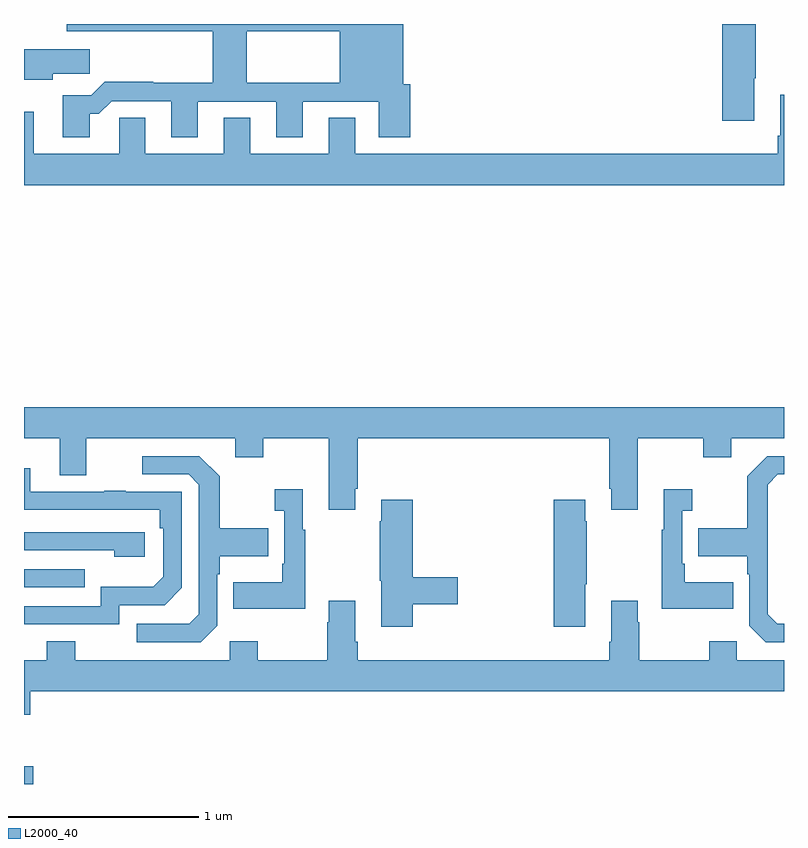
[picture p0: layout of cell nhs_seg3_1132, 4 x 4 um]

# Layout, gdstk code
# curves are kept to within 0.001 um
import gdstk
lib = gdstk.Library(unit=1e-6, precision=1e-09)
def R(c, l, rs):  # rectangles x0, y0, x1, y1
    for r in rs: c.add(gdstk.rectangle(r[:2], r[2:], *l))
def P(c, l, *ps):  # polygons
    for p in ps: c.add(gdstk.Polygon(p, *l))
L2000_40 = (2000, 40)

nhs_seg3_1132 = lib.new_cell('nhs_seg3_1132')
R(nhs_seg3_1132, L2000_40, [(169,728.4,169.049,728.494), (169,729.435,169.319,729.531)])
P(nhs_seg3_1132, L2000_40, [(169.679,732.095),(169.424,732.095),(169.354,732.025),(169.205,732.025),(169.205,731.805),(169.345,731.805),(169.345,731.927),(169.394,731.927),(169.461,731.994),(169.775,731.994),(169.775,731.805),(169.915,731.805),(169.915,731.991),(170.327,731.991),(170.327,731.805),(170.467,731.805),(170.467,731.991),(170.867,731.991),(170.867,731.805),(171.032,731.805),(171.032,732.084),(170.995,732.084),(170.995,732.4),(169.226,732.4),(169.226,732.362),(169.994,732.362),(169.994,732.092),(170.172,732.092),(170.172,732.362),(170.663,732.362),(170.663,732.092),(169.679,732.092)],
  [(172.843,732.115),(172.851,732.115),(172.851,732.4),(172.676,732.4),(172.676,731.892),(172.843,731.892)],
  [(169.15,732.139),(169.345,732.139),(169.345,732.268),(169,732.268),(169,732.107),(169.15,732.107)],
  [(173,732.028),(172.979,732.028),(172.979,731.812),(172.967,731.812),(172.967,731.716),(170.743,731.716),(170.743,731.906),(170.603,731.906),(170.603,731.716),(170.191,731.716),(170.191,731.906),(170.051,731.906),(170.051,731.716),(169.639,731.716),(169.639,731.906),(169.5,731.906),(169.5,731.716),(169.051,731.716),(169.051,731.938),(169,731.938),(169,731.552),(173,731.552)],
  [(169,730.22),(169.187,730.22),(169.187,730.026),(169.327,730.026),(169.327,730.22),(170.111,730.22),(170.111,730.121),(170.259,730.121),(170.259,730.22),(170.603,730.22),(170.603,729.843),(170.743,729.843),(170.743,729.955),(170.756,729.955),(170.756,730.22),(172.079,730.22),(172.079,729.955),(172.091,729.955),(172.091,729.843),(172.231,729.843),(172.231,730.22),(172.576,730.22),(172.576,730.121),(172.723,730.121),(172.723,730.22),(173,730.22),(173,730.384),(169,730.384)],
  [(170.016,729.234),(170.016,729.503),(170.029,729.503),(170.029,729.599),(170.285,729.599),(170.285,729.747),(170.029,729.747),(170.029,730.019),(169.923,730.125),(169.623,730.125),(169.623,730.029),(169.866,730.029),(169.92,729.975),(169.92,729.294),(169.869,729.243),(169.593,729.243),(169.593,729.147),(169.929,729.147)],
  [(173,729.243),(172.965,729.243),(172.914,729.294),(172.914,729.975),(172.968,730.029),(173,730.029),(173,730.125),(172.911,730.125),(172.806,730.019),(172.806,729.747),(172.549,729.747),(172.549,729.599),(172.806,729.599),(172.806,729.503),(172.818,729.503),(172.818,729.234),(172.905,729.147),(173,729.147)],
  [(169.5,729.342),(169.74,729.342),(169.83,729.432),(169.83,729.939),(169.535,729.939),(169.535,729.944),(169.423,729.944),(169.423,729.939),(169.033,729.939),(169.033,730.063),(169,730.063),(169,729.844),(169.714,729.843),(169.714,729.746),(169.734,729.746),(169.734,729.492),(169.681,729.439),(169.404,729.439),(169.404,729.336),(169,729.336),(169,729.24),(169.5,729.24)],
  [(170.479,729.739),(170.467,729.739),(170.467,729.952),(170.319,729.952),(170.319,729.839),(170.37,729.839),(170.37,729.559),(170.358,729.559),(170.358,729.463),(170.101,729.463),(170.101,729.323),(170.479,729.323)],
  [(172.733,729.463),(172.477,729.463),(172.477,729.559),(172.464,729.559),(172.464,729.839),(172.516,729.839),(172.516,729.952),(172.367,729.952),(172.367,729.739),(172.356,729.739),(172.356,729.323),(172.733,729.323)],
  [(171.047,729.346),(171.283,729.346),(171.283,729.488),(171.047,729.488),(171.047,729.895),(170.879,729.895),(170.879,729.782),(170.872,729.782),(170.872,729.471),(170.879,729.471),(170.879,729.228),(171.047,729.228)],
  [(171.955,729.451),(171.963,729.451),(171.963,729.782),(171.955,729.782),(171.955,729.895),(171.788,729.895),(171.788,729.228),(171.955,729.228)],
  [(169.636,729.726),(169,729.726),(169,729.63),(169.475,729.63),(169.475,729.596),(169.636,729.596)],
  [(169.034,728.888),(173,728.888),(173,729.052),(172.752,729.052),(172.752,729.151),(172.606,729.151),(172.606,729.052),(172.239,729.052),(172.239,729.251),(172.231,729.251),(172.231,729.364),(172.091,729.364),(172.091,729.148),(172.079,729.148),(172.079,729.052),(170.756,729.052),(170.756,729.148),(170.743,729.148),(170.743,729.364),(170.603,729.364),(170.603,729.251),(170.596,729.251),(170.596,729.052),(170.229,729.052),(170.229,729.151),(170.082,729.151),(170.082,729.052),(169.269,729.052),(169.269,729.151),(169.121,729.151),(169.121,729.052),(169,729.052),(169,728.764),(169.034,728.764)])

lib.write_gds('nhs_seg3_1132.gds')
